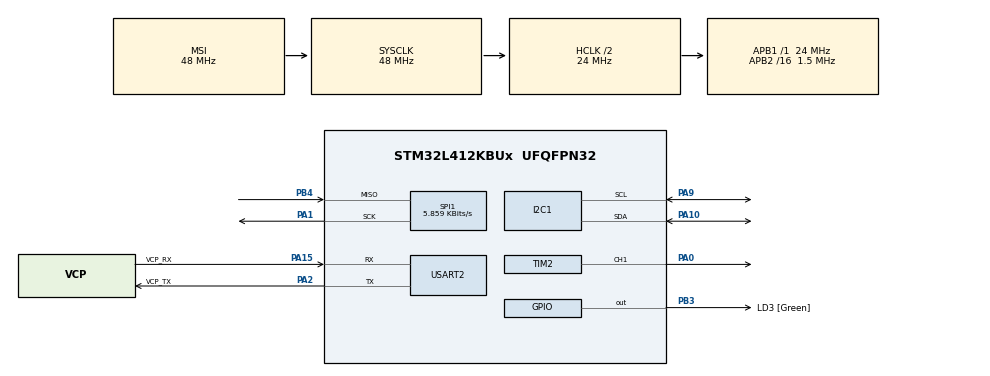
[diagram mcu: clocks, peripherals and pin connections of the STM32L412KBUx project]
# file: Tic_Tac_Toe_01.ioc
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Dma.Request0=TIM2_CH1
Dma.TIM2_CH1.0.Direction=DMA_MEMORY_TO_PERIPH
Dma.TIM2_CH1.0.Instance=DMA1_Channel5
Dma.TIM2_CH1.0.MemDataAlignment=DMA_MDATAALIGN_WORD
Dma.TIM2_CH1.0.MemInc=DMA_MINC_ENABLE
Dma.TIM2_CH1.0.Mode=DMA_NORMAL
Dma.TIM2_CH1.0.PeriphDataAlignment=DMA_PDATAALIGN_WORD
Dma.TIM2_CH1.0.PeriphInc=DMA_PINC_DISABLE
Dma.TIM2_CH1.0.Priority=DMA_PRIORITY_LOW
I2C1.Timing=0x00805C87
Mcu.Family=STM32L4
Mcu.Name=STM32L412KBUx
Mcu.Package=UFQFPN32
NVIC.DMA1_Channel5_IRQn=true\:0\:0\:false\:false\:true\:false\:true\:true
NVIC.PriorityGroup=NVIC_PRIORITYGROUP_4
PA0-CK_IN.Signal=S_TIM2_CH1
PA1.Mode=RX_Only_Simplex_Unidirect_Master
PA1.Signal=SPI1_SCK
PA10.Mode=I2C
PA10.Signal=I2C1_SDA
PA13\ (JTMS/SWDIO).GPIO_Label=SWDIO
PA13\ (JTMS/SWDIO).Mode=Serial_Wire
PA13\ (JTMS/SWDIO).Signal=SYS_JTMS-SWDIO
PA14\ (JTCK/SWCLK).GPIO_Label=SWCLK
PA14\ (JTCK/SWCLK).Mode=Serial_Wire
PA14\ (JTCK/SWCLK).Signal=SYS_JTCK-SWCLK
PA15\ (JTDI).GPIO_Label=VCP_RX
PA15\ (JTDI).Mode=Asynchronous
PA15\ (JTDI).Signal=USART2_RX
PA2.GPIO_Label=VCP_TX
PA2.Mode=Asynchronous
PA2.Signal=USART2_TX
PA9.Mode=I2C
PA9.Signal=I2C1_SCL
PB3\ (JTDO/TRACESWO).GPIO_Label=LD3 [Green]
PB3\ (JTDO/TRACESWO).Signal=GPIO_Output
PB4\ (NJTRST).Mode=RX_Only_Simplex_Unidirect_Master
PB4\ (NJTRST).Signal=SPI1_MISO
PC14-OSC32_IN\ (PC14).Mode=LSE-External-Oscillator
PC14-OSC32_IN\ (PC14).Signal=RCC_OSC32_IN
PC15-OSC32_OUT\ (PC15).Mode=LSE-External-Oscillator
PC15-OSC32_OUT\ (PC15).Signal=RCC_OSC32_OUT
ProjectManager.HeapSize=0x200
ProjectManager.StackSize=0x400
ProjectManager.TargetToolchain=STM32CubeIDE
RCC.ADCFreq_Value=48000000
RCC.AHBCLKDivider=RCC_SYSCLK_DIV2
RCC.AHBFreq_Value=24000000
RCC.APB1Freq_Value=24000000
RCC.APB1TimFreq_Value=24000000
RCC.APB2CLKDivider=RCC_HCLK_DIV16
RCC.APB2Freq_Value=1500000
RCC.APB2TimFreq_Value=3000000
RCC.CortexFreq_Value=24000000
RCC.FLatency=FLASH_LATENCY_1
RCC.HCLKFreq_Value=24000000
RCC.HSE_VALUE=8000000
RCC.HSI48_VALUE=48000000
RCC.HSICalibrationValue=64
RCC.HSI_VALUE=16000000
RCC.LSE_Drive_Capability=RCC_LSEDRIVE_LOW
RCC.MSIClockRange=RCC_MSIRANGE_11
RCC.MSI_VALUE=48000000
RCC.SYSCLKFreq_VALUE=48000000
RCC.USBFreq_Value=48000000
RCC.VCOOutputFreq_Value=384000000
SH.S_TIM2_CH1.0=TIM2_CH1,PWM Generation1 CH1
SPI1.BaudRatePrescaler=SPI_BAUDRATEPRESCALER_256
SPI1.CLKPhase=SPI_PHASE_2EDGE
SPI1.CLKPolarity=SPI_POLARITY_HIGH
SPI1.CalculateBaudRate=5.859 KBits/s
SPI1.DataSize=SPI_DATASIZE_16BIT
SPI1.Direction=SPI_DIRECTION_2LINES_RXONLY
SPI1.FirstBit=SPI_FIRSTBIT_LSB
SPI1.Mode=SPI_MODE_MASTER
SPI1.VirtualType=VM_MASTER
TIM2.AutoReloadPreload=TIM_AUTORELOAD_PRELOAD_ENABLE
TIM2.Channel-PWM\ Generation1\ CH1=TIM_CHANNEL_1
TIM2.Period=29
USART2.VirtualMode-Asynchronous=VM_ASYNC
VP_RNG_VS_RNG.Mode=RNG_Activate
VP_TIM2_VS_ClockSourceINT.Mode=Internal
board=NUCLEO-L412KB

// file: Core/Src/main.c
/* USER CODE BEGIN Header */
/**
  ******************************************************************************
  * @file           : main.c
  * @brief          : Main program body
  ******************************************************************************
  * @attention
  *
  * Copyright (c) 2026 STMicroelectronics.
  * All rights reserved.
  *
  * This software is licensed under terms that can be found in the LICENSE file
  * in the root directory of this software component.
  * If no LICENSE file comes with this software, it is provided AS-IS.
  *
  ******************************************************************************
  */
/* USER CODE END Header */
#include "main.h"
#include "dma.h"
#include "i2c.h"
#include "rng.h"
#include "spi.h"
#include "tim.h"
#include "usart.h"
#include "gpio.h"

/* USER CODE BEGIN Includes */
#include <Benutzerschnittstelle/input.h>
#include <Benutzerschnittstelle/ui.h>
#include <Hardwaretreiber/i2c_lcd.h>
#include <Hardwaretreiber/keyboard.h>
#include <Hardwaretreiber/neopixel.h>
#include <Hardwaretreiber/retarget_stdio.h>
#include <Spiellogik/game.h>
#include <Spiellogik/game_runner.h>

/* USER CODE END Includes */

void SystemClock_Config(void);

int main(void)
{

  /* MCU Configuration--------------------------------------------------------*/

  /* Reset of all peripherals, Initializes the Flash interface and the Systick. */
  HAL_Init();

  /* Configure the system clock */
  SystemClock_Config();

  /* Initialize all configured peripherals */
  MX_GPIO_Init();
  MX_DMA_Init();
  MX_USART2_UART_Init();
  MX_I2C1_Init();
  MX_SPI1_Init();
  MX_TIM2_Init();
  MX_RNG_Init();
  /* USER CODE BEGIN 2 */

  RetargetInit(&huart2);

  lcd_init(&hi2c1);
  keyboard_init(&hspi1, 10);

  ui_greet();

  neopixel_init();

  Game game;

  if (!ui_ask_start_game()) {
	  ui_show_goodbye();
      return 0;
  }

  /* USER CODE END 2 */

  /* Infinite loop */
  while (1)
  {

    /* USER CODE BEGIN 3 */

	ui_prepare_new_game_screen();

	game.aiDifficulty = ui_ask_ai_difficulty();

	ui_prepare_new_game_screen();

	game_run(&game);

	if (!ui_ask_replay())
	{
		ui_show_goodbye();
		break;
	}

  }
  /* USER CODE END 3 */
}

void SystemClock_Config(void)
{
  RCC_OscInitTypeDef RCC_OscInitStruct = {0};
  RCC_ClkInitTypeDef RCC_ClkInitStruct = {0};

  /** Configure the main internal regulator output voltage
  */
  if (HAL_PWREx_ControlVoltageScaling(PWR_REGULATOR_VOLTAGE_SCALE1) != HAL_OK)
  {
    Error_Handler();
  }

  /** Configure LSE Drive Capability
  */
  HAL_PWR_EnableBkUpAccess();
  __HAL_RCC_LSEDRIVE_CONFIG(RCC_LSEDRIVE_LOW);

  /** Initializes the RCC Oscillators according to the specified parameters
  * in the RCC_OscInitTypeDef structure.
  */
  RCC_OscInitStruct.OscillatorType = RCC_OSCILLATORTYPE_LSE|RCC_OSCILLATORTYPE_MSI;
  RCC_OscInitStruct.LSEState = RCC_LSE_ON;
  RCC_OscInitStruct.MSIState = RCC_MSI_ON;
  RCC_OscInitStruct.MSICalibrationValue = 0;
  RCC_OscInitStruct.MSIClockRange = RCC_MSIRANGE_11;
  RCC_OscInitStruct.PLL.PLLState = RCC_PLL_NONE;
  if (HAL_RCC_OscConfig(&RCC_OscInitStruct) != HAL_OK)
  {
    Error_Handler();
  }

  /** Initializes the CPU, AHB and APB buses clocks
  */
  RCC_ClkInitStruct.ClockType = RCC_CLOCKTYPE_HCLK|RCC_CLOCKTYPE_SYSCLK
                              |RCC_CLOCKTYPE_PCLK1|RCC_CLOCKTYPE_PCLK2;
  RCC_ClkInitStruct.SYSCLKSource = RCC_SYSCLKSOURCE_MSI;
  RCC_ClkInitStruct.AHBCLKDivider = RCC_SYSCLK_DIV2;
  RCC_ClkInitStruct.APB1CLKDivider = RCC_HCLK_DIV1;
  RCC_ClkInitStruct.APB2CLKDivider = RCC_HCLK_DIV16;

  if (HAL_RCC_ClockConfig(&RCC_ClkInitStruct, FLASH_LATENCY_1) != HAL_OK)
  {
    Error_Handler();
  }

  /** Enable MSI Auto calibration
  */
  HAL_RCCEx_EnableMSIPLLMode();
}

void Error_Handler(void)
{
  __disable_irq();
  while (1)
  {
  }
}
